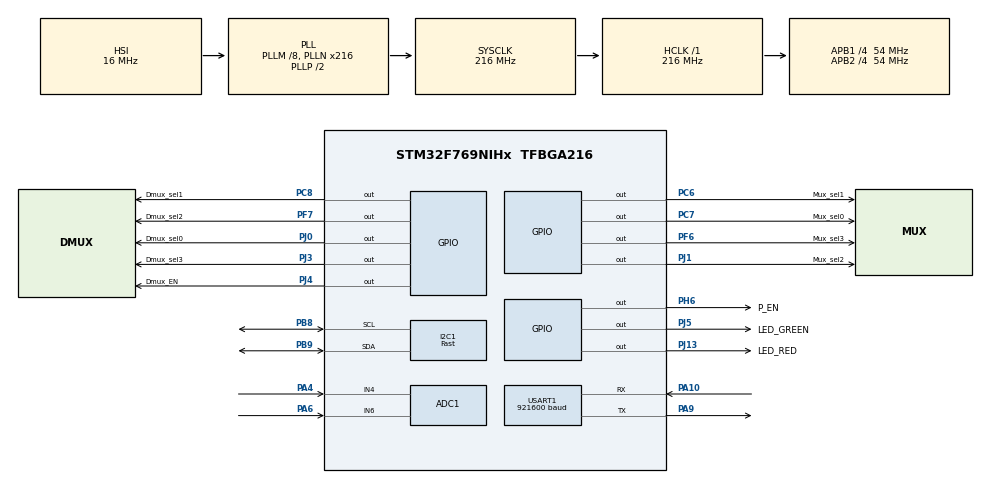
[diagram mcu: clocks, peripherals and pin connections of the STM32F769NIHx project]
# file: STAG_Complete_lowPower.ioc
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Mcu.Family=STM32F7
STMicroelectronics.X-CUBE-AI.5.0.0.ModelMacc-4a777269b15ae735e5917de376a15997c86f35e3944f2cdbd16dda3ebaa704af=4761904
RCC.CortexFreq_Value=216000000
STMicroelectronics.X-CUBE-AI.5.0.0.ModelName-4a777269b15ae735e5917de376a15997c86f35e3944f2cdbd16dda3ebaa704af=network
NVIC.I2C1_EV_IRQn=true\:4\:1\:true\:false\:true\:true\:true
I2C1.I2C_Speed_Mode=I2C_Fast
STMicroelectronics.X-CUBE-AI.5.0.0.ModelFlashOccupation-4a777269b15ae735e5917de376a15997c86f35e3944f2cdbd16dda3ebaa704af=175940
USART1.BaudRate=921600
STMicroelectronics.X-CUBE-AI.5.0.0.NNModelInformation_ModelSize-4a777269b15ae735e5917de376a15997c86f35e3944f2cdbd16dda3ebaa704af=175940
PH6.GPIO_Label=P_EN
CORTEX_M7.PREFETCH_ENABLE=1
PC6.GPIO_Label=Mux_sel1
PA0/WKUP.Signal=SYS_WKUP1
STMicroelectronics.X-CUBE-AI.5.0.0.ModelType-4a777269b15ae735e5917de376a15997c86f35e3944f2cdbd16dda3ebaa704af=Saved model
PF6.GPIO_Label=Mux_sel3
PJ5.GPIO_Label=LED_GREEN
STMicroelectronics.X-CUBE-AI.5.0.0.ModelActualCompression-4a777269b15ae735e5917de376a15997c86f35e3944f2cdbd16dda3ebaa704af=0.0
RCC.SYSCLKSource=RCC_SYSCLKSOURCE_PLLCLK
ProjectManager.StackSize=0x4000
VP_TIM7_VS_ClockSourceINT.Mode=Enable_Timer
STMicroelectronics.X-CUBE-AI.5.0.0.StackSize=0x4000
NVIC.ADC_IRQn=true\:2\:1\:true\:false\:true\:true\:true
PJ13.GPIO_Label=LED_RED
PF7.Signal=GPIO_Output
RCC.HCLKFreq_Value=216000000
RCC.APB2TimFreq_Value=108000000
PC7.Signal=GPIO_Output
TIM7.Period=1349
STMicroelectronics.X-CUBE-AI.5.0.0.InternalRamActivationBufferMaxSize=AI_NETWORK_DATA_ACTIVATIONS_SIZE
STMicroelectronics.X-CUBE-AI.5.0.0.ModelStructureFile-4a777269b15ae735e5917de376a15997c86f35e3944f2cdbd16dda3ebaa704af=/home/fabian/Documents/Master_thesis/Python_Code/models/onnx/final_model.onnx
RCC.AHBFreq_Value=216000000
STMicroelectronics.X-CUBE-AI.5.0.0.NNModelInformation_ModelMacc-4a777269b15ae735e5917de376a15997c86f35e3944f2cdbd16dda3ebaa704af=4761904
STMicroelectronics.X-CUBE-AI.5.0.0.WorkingBufferStartAddrList=0xFFFFFFFF
ADC1.Channel-0\#ChannelRegularConversion=ADC_CHANNEL_4
RCC.HSE_VALUE=25000000
RCC.RCC_RTC_Clock_Source_FROM_HSE=RCC_RTCCLKSOURCE_HSE_DIV25
ADC1.ScanConvMode=ADC_SCAN_ENABLE
RCC.RTCClockSelection=RCC_RTCCLKSOURCE_LSE
STMicroelectronics.X-CUBE-AI.5.0.0.NNModelInformation_NbOfParameters-4a777269b15ae735e5917de376a15997c86f35e3944f2cdbd16dda3ebaa704af=43985
STMicroelectronics.X-CUBE-AI.5.0.0.NNModelInformation_ModelRam-4a777269b15ae735e5917de376a15997c86f35e3944f2cdbd16dda3ebaa704af=49152
STMicroelectronics.X-CUBE-AI.5.0.0.NNModelInformation_ModelRom-4a777269b15ae735e5917de376a15997c86f35e3944f2cdbd16dda3ebaa704af=175940
PF7.GPIO_Label=Dmux_sel2
STMicroelectronics.X-CUBE-AI.5.0.0.LatestDirectoryUsed-4a777269b15ae735e5917de376a15997c86f35e3944f2cdbd16dda3ebaa704af=/home/fabian/Documents/Master_thesis/Python_Code/models/onnx
STMicroelectronics.X-CUBE-AI.5.0.0.NNModelInformation_HeapSizeNeeded-4a777269b15ae735e5917de376a15997c86f35e3944f2cdbd16dda3ebaa704af=3072
TIM6.Period=65535
NVIC.I2C1_ER_IRQn=true\:4\:0\:true\:false\:true\:true\:true
ADC1.SamplingTime-0\#ChannelRegularConversion=ADC_SAMPLETIME_112CYCLES
STMicroelectronics.X-CUBE-AI.5.0.0.ValidationOutputFileHistory-4a777269b15ae735e5917de376a15997c86f35e3944f2cdbd16dda3ebaa704af=/home/fabian/Documents/Master_thesis/C_Code/validation_data/label2_small.csv,/home/fabian/Documents/Master_thesis/C_Code/validation_data/real_labels.csv
STMicroelectronics.X-CUBE-AI.5.0.0.NNModelInformation_ModelOutSizeByName-4a777269b15ae735e5917de376a15997c86f35e3944f2cdbd16dda3ebaa704af={output\=68}
STMicroelectronics.X-CUBE-AI.5.0.0.MaximumNumberOfInputLayer=1
PB9.Signal=I2C1_SDA
Mcu.Package=TFBGA216
PA6.Signal=ADCx_IN6
STMicroelectronics.X-CUBE-AI.5.0.0.MaximumSizeOfInputLayer=4096
PJ4.Signal=GPIO_Output
PA10.Signal=USART1_RX
STMicroelectronics.X-CUBE-AI.5.0.0.ValidationInputFileHistory-4a777269b15ae735e5917de376a15997c86f35e3944f2cdbd16dda3ebaa704af=/home/fabian/Documents/Master_thesis/C_Code/validation_data/data2_small.csv,/home/fabian/Documents/Master_thesis/C_Code/validation_data/real_data.csv,/home/fabian/Documents/Master_thesis/C_Code/validation_data/real_data.csv
PJ1.Signal=GPIO_Output
TIM7.AutoReloadPreload=TIM_AUTORELOAD_PRELOAD_ENABLE
RCC.APB2CLKDivider=RCC_HCLK_DIV4
RCC.PLLSAIQ=3
PJ3.GPIO_Label=Dmux_sel3
RCC.APB1TimFreq_Value=108000000
STMicroelectronics.X-CUBE-AI.5.0.0.MaximumSizeOfOutputLayer=68
NVIC.USART1_IRQn=true\:3\:0\:true\:false\:true\:true\:true
NVIC.TIM7_IRQn=true\:1\:1\:true\:false\:true\:true\:true
PJ1.GPIO_Label=Mux_sel2
CORTEX_M7.CPU_ICache=Enabled
ADC1.Rank-0\#ChannelRegularConversion=1
STMicroelectronics.X-CUBE-AI.5.0.0.HeapSize=0x2000
PA10.Mode=Asynchronous
SH.ADCx_IN6.0=ADC1_IN6,IN6
STMicroelectronics.X-CUBE-AI.5.0.0.MaximumNumberOfOutputLayer=1
STMicroelectronics.X-CUBE-AI.5.0.0.ModelRamOccupation-4a777269b15ae735e5917de376a15997c86f35e3944f2cdbd16dda3ebaa704af=49152
STMicroelectronics.X-CUBE-AI.5.0.0.XAaCUBEAaAICcArtificialOoIntelligenceJjCore=true
PC8.Signal=GPIO_Output
STMicroelectronics.X-CUBE-AI.5.0.0.ModelKind-4a777269b15ae735e5917de376a15997c86f35e3944f2cdbd16dda3ebaa704af=ONNX
TIM6.Prescaler=107
ADC1.DiscontinuousConvMode=ENABLE
VP_TIM6_VS_ClockSourceINT.Mode=Enable_Timer
PC6.Signal=GPIO_Output
RCC.APB1CLKDivider=RCC_HCLK_DIV4
STMicroelectronics.X-CUBE-AI.5.0.0.NNModelInformation_EvaluationStatus-4a777269b15ae735e5917de376a15997c86f35e3944f2cdbd16dda3ebaa704af=NOT EVALUATED
VP_STMicroelectronics.X-CUBE-AI_VS_ArtificialOoIntelligenceJjXAaCUBEAaAI_5.0.0.Mode=ArtificialOoIntelligenceJjXAaCUBEAaAI
PC8.GPIO_Label=Dmux_sel1
USART1.VirtualMode-Asynchronous=VM_ASYNC
TIM6.AutoReloadPreload=TIM_AUTORELOAD_PRELOAD_ENABLE
PJ3.Signal=GPIO_Output
PA9.Mode=Asynchronous
PF6.Signal=GPIO_Output
ProjectManager.TargetToolchain=Makefile
CORTEX_M7.ART_ACCLERATOR_ENABLE=1
PB9.Mode=I2C
PA9.Signal=USART1_TX
STMicroelectronics.X-CUBE-AI.5.0.0.NNModelInformation_AchievedCompression-4a777269b15ae735e5917de376a15997c86f35e3944f2cdbd16dda3ebaa704af=0.0
ADC1.Channel-1\#ChannelRegularConversion=ADC_CHANNEL_6
I2C1.Timing=0x6000030D
STMicroelectronics.X-CUBE-AI.5.0.0.ApplicationCcArtificialOoIntelligenceJjApplication=ApplicationTemplate
RCC.USBFreq_Value=108000000
RCC.LSE_VALUE=32768
PA0/WKUP.Mode=SYS_WakeUp0
TIM7.Prescaler=9999
board=STM32F769I-DISC1
PJ4.GPIO_Label=Dmux_EN
RCC.VCOOutputFreq_Value=432000000
ADC1.NbrOfDiscConversion=2
RCC.APB2Freq_Value=54000000
STMicroelectronics.X-CUBE-AI.5.0.0.NNModelInformation_CompressionFactor-4a777269b15ae735e5917de376a15997c86f35e3944f2cdbd16dda3ebaa704af=0.0
PA0/WKUP.GPIO_Label=BUTTON
STMicroelectronics.X-CUBE-AI.5.0.0.ModelCompression-4a777269b15ae735e5917de376a15997c86f35e3944f2cdbd16dda3ebaa704af=1
SH.ADCx_IN4.0=ADC1_IN4,IN4
STMicroelectronics.X-CUBE-AI.5.0.0.ActivationBufferSizeList=49152
ADC1.NbrOfConversion=2
PJ0.Signal=GPIO_Output
Mcu.Name=STM32F769NIHx
PC7.GPIO_Label=Mux_sel0
STMicroelectronics.X-CUBE-AI.5.0.0.NNModelInformation_ModelInSizeByName-4a777269b15ae735e5917de376a15997c86f35e3944f2cdbd16dda3ebaa704af={input\=4096}
PA4.Signal=ADCx_IN4
ADC1.SamplingTime-1\#ChannelRegularConversion=ADC_SAMPLETIME_112CYCLES
RCC.SYSCLKFreq_VALUE=216000000
USART1.OverSampling=UART_OVERSAMPLING_8
ADC1.master=1
PJ5.Signal=GPIO_Output
ADC1.Rank-1\#ChannelRegularConversion=2
PJ0.GPIO_Label=Dmux_sel0
ProjectManager.HeapSize=0x2000
PH6.Signal=GPIO_Output
RCC.HSI_VALUE=16000000
VP_STMicroelectronics.X-CUBE-AI_VS_ArtificialOoIntelligenceJjApplication_5.0.0.Mode=ArtificialOoIntelligenceJjApplication
RCC.PLLQ=4
NVIC.PriorityGroup=NVIC_PRIORITYGROUP_3
ADC1.NbrOfConversionFlag=1
RCC.PLLM=8
STMicroelectronics.X-CUBE-AI.5.0.0.ModelHashList=4a777269b15ae735e5917de376a15997c86f35e3944f2cdbd16dda3ebaa704af
PB8.Mode=I2C
RCC.PLLN=216
PB8.Signal=I2C1_SCL
STMicroelectronics.X-CUBE-AI.5.0.0.NNModelInformation_ModelName-4a777269b15ae735e5917de376a15997c86f35e3944f2cdbd16dda3ebaa704af=network
CORTEX_M7.CPU_DCache=Enabled
RCC.APB1Freq_Value=54000000
VP_CRC_VS_CRC.Mode=CRC_Activate
PJ13.Signal=GPIO_Output
STMicroelectronics.X-CUBE-AI.5.0.0.ModelNameList=network

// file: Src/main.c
/* USER CODE BEGIN Header */
/**
  ******************************************************************************
  * @file           : main.c
  * @brief          : Main program body
  ******************************************************************************
  * @attention
  *
  * <h2><center>&copy; Copyright (c) 2020 STMicroelectronics.
  * All rights reserved.</center></h2>
  *
  * This software component is licensed by ST under Ultimate Liberty license
  * SLA0044, the "License"; You may not use this file except in compliance with
  * the License. You may obtain a copy of the License at:
  *                             www.st.com/SLA0044
  *
  ******************************************************************************
  */
/* USER CODE END Header */

#include "main.h"
#include "app_x-cube-ai.h"

/* USER CODE BEGIN Includes */
#include "readout_driver.h"
#include "MPU9250.h"

// needed to retarget stdio
#include <stdio.h>
#include <errno.h>
#include <sys/unistd.h>

#include <stdbool.h>
/* USER CODE END Includes */

CRC_HandleTypeDef hcrc;

TIM_HandleTypeDef htim7;

UART_HandleTypeDef huart1;

/* USER CODE BEGIN PV */

uint16_t tactileData[DATA_SIZE];
volatile bool collect_data = false;
volatile bool button = false;
volatile bool lp_standby = false;
HAL_StatusTypeDef status;

//uint16_t pre_tick;
//uint16_t post_tick;
uint8_t rx_char[2];

uint16_t frame_count = 0;
uint16_t frame_limit = 80; // frame rate is 8Hz -> 80 frames take 10 seconds

float accData[3];
float magData[3];
float gyroData[3];

ai_float tactileData_scaled[DATA_SIZE];
const uint16_t tactile_shift = 1500;
const float tactile_scale = 1/(2000.0 - 1500.0);
uint8_t pred_class;

char class_names[17][15] =  {
                              //"Allen key set ",
                              "Ball          ",
                              "Battery       ",
                              //"Board eraser  ",
                              "Bracket       ",
                              //"Brain         ",
                              //"Cat           ",
                              //"Chain         ",
                              //"Clip          ",
                              "Coin          ",
                              "Empty can     ",
                              "Empty hand    ",
                              "Full can      ",
                              "Gel           ",
                              //"Kiwano        ",
                              "Lotion        ",
                              "Mug           ",
                              //"Multimeter    ",
                              "Pen           ",
                              "Safety glasses",
                              "Scissors      ",
                              "Screwdriver   ",
                              //"Spoon         ",
                              "Spray can     ",
                              "Stapler       ",
                              "Tape          ",
                              //"Teabox        "
                            };

const uint8_t ODR = 0x07;
/* USER CODE END PV */

void SystemClock_Config(void);
static void MX_GPIO_Init(void);
static void MX_ADC1_Init(void);
static void MX_USART1_UART_Init(void);
static void MX_I2C1_Init(void);
static void MX_TIM6_Init(void);
static void MX_TIM7_Init(void);
static void MX_CRC_Init(void);
/* USER CODE BEGIN PFP */
//void HAL_GPIO_EXTI_Callback(uint16_t GPIO_Pin);
void HAL_UART_RxCpltCallback(UART_HandleTypeDef *huart);
void HAL_TIM_PeriodElapsedCallback(TIM_HandleTypeDef *htim);
int _write(int fd, char *buff, int count);
//static void StandbyMode(void);
/* USER CODE END PFP */

int main(void)
{

  /* Enable I-Cache---------------------------------------------------------*/
  SCB_EnableICache();

  /* Enable D-Cache---------------------------------------------------------*/
  SCB_EnableDCache();

  /* MCU Configuration--------------------------------------------------------*/

  /* Reset of all peripherals, Initializes the Flash interface and the Systick. */
  HAL_Init();

  /* Configure the system clock */
  SystemClock_Config();

  /* Initialize all configured peripherals */
  MX_GPIO_Init();
  MX_ADC1_Init();
  MX_USART1_UART_Init();
  MX_I2C1_Init();
  MX_TIM6_Init();
  MX_TIM7_Init();
  MX_CRC_Init();
  MX_X_CUBE_AI_Init();
  /* USER CODE BEGIN 2 */
  //____________________________________________________________________________
  /* Check and handle if the system was resumed from StandBy mode */
  if(__HAL_PWR_GET_FLAG(PWR_FLAG_SB) != RESET)
  {
    __HAL_PWR_CLEAR_FLAG(PWR_FLAG_SB);

    /* Exit Ethernet Phy from low power mode */
    ETH_PhyExitFromPowerDownMode();

    /* Exit USB Phy from low power mode */
    USB_PhyExitFromLowPowerMode();
  }
  //____________________________________________________________________________
  HAL_TIM_Base_Start(&htim6);
  //HAL_TIM_Base_Start(&htim7);
  HAL_UART_Receive_IT(&huart1, rx_char, 2);
  //HAL_Delay(5000);
  MPU9250_Init();
  En_ReadoutCircuit();
  HAL_TIM_Base_Start_IT(&htim7);
  /* USER CODE END 2 */

  /* Infinite loop */
  /* USER CODE BEGIN WHILE */
  while (1)
  {
    if (collect_data)
    {
      //__HAL_TIM_SET_COUNTER(&htim7, 0);
      /*status = MPU9250_GetData_Phys(accData, magData, gyroData);
      if (status != HAL_OK)
      {
        Error_Handler();
      }*/

      __HAL_TIM_SET_COUNTER(&htim6, 0);
      status = Read_Frame(tactileData);
      if (status != HAL_OK)
      {
        Error_Handler();
      }
      frame_count++;
      for (int i=0; i<DATA_SIZE; i++)
      {
        ai_float tmp_ = ((float)(tactileData[i] - tactile_shift))*tactile_scale;
        // clip values such that they fall between 0, 1
        tactileData_scaled[i] = AI_CLAMP(tmp_, 0.0, 1.0, ai_float);
      }
      pred_class = MX_X_CUBE_AI_Process(tactileData_scaled);
      printf("Predicted class is: %s\r", class_names[pred_class]);
      fflush(stdout);
      /*post_tick = __HAL_TIM_GET_COUNTER(&htim7);
      printf("Whole loop took %3.1f milliseconds.\n", ((float)(post_tick)*0.092592593));*/
      collect_data = false;
    }
    /* USER CODE END WHILE */

    /* USER CODE BEGIN 3 */
    if (lp_standby)
    {
      // Disable the readout circuit
      Dis_ReadoutCircuit();
      // Put IMU into low power mode
      status = MPU9250_AccelLP(ODR);
      if (status != HAL_OK)
      {
        Error_Handler();
      }
      /* Enter USB PHY to Lowpower Mode */
      USB_PhyEnterLowPowerMode();
      /* Enter Ethernet PHY to Power Down Mode */
      ETH_PhyEnterPowerDownMode();
      StandbyMode_Measure();
    }
  }
  /* USER CODE END 3 */
}

void SystemClock_Config(void)
{
  RCC_OscInitTypeDef RCC_OscInitStruct = {0};
  RCC_ClkInitTypeDef RCC_ClkInitStruct = {0};
  RCC_PeriphCLKInitTypeDef PeriphClkInitStruct = {0};

  /** Configure the main internal regulator output voltage
  */
  __HAL_RCC_PWR_CLK_ENABLE();
  __HAL_PWR_VOLTAGESCALING_CONFIG(PWR_REGULATOR_VOLTAGE_SCALE1);
  /** Initializes the CPU, AHB and APB busses clocks
  */
  RCC_OscInitStruct.OscillatorType = RCC_OSCILLATORTYPE_HSI;
  RCC_OscInitStruct.HSIState = RCC_HSI_ON;
  RCC_OscInitStruct.HSICalibrationValue = RCC_HSICALIBRATION_DEFAULT;
  RCC_OscInitStruct.PLL.PLLState = RCC_PLL_ON;
  RCC_OscInitStruct.PLL.PLLSource = RCC_PLLSOURCE_HSI;
  RCC_OscInitStruct.PLL.PLLM = 8;
  RCC_OscInitStruct.PLL.PLLN = 216;
  RCC_OscInitStruct.PLL.PLLP = RCC_PLLP_DIV2;
  RCC_OscInitStruct.PLL.PLLQ = 4;
  if (HAL_RCC_OscConfig(&RCC_OscInitStruct) != HAL_OK)
  {
    Error_Handler();
  }
  /** Activate the Over-Drive mode
  */
  if (HAL_PWREx_EnableOverDrive() != HAL_OK)
  {
    Error_Handler();
  }
  /** Initializes the CPU, AHB and APB busses clocks
  */
  RCC_ClkInitStruct.ClockType = RCC_CLOCKTYPE_HCLK|RCC_CLOCKTYPE_SYSCLK
                              |RCC_CLOCKTYPE_PCLK1|RCC_CLOCKTYPE_PCLK2;
  RCC_ClkInitStruct.SYSCLKSource = RCC_SYSCLKSOURCE_PLLCLK;
  RCC_ClkInitStruct.AHBCLKDivider = RCC_SYSCLK_DIV1;
  RCC_ClkInitStruct.APB1CLKDivider = RCC_HCLK_DIV4;
  RCC_ClkInitStruct.APB2CLKDivider = RCC_HCLK_DIV4;

  if (HAL_RCC_ClockConfig(&RCC_ClkInitStruct, FLASH_LATENCY_7) != HAL_OK)
  {
    Error_Handler();
  }
  PeriphClkInitStruct.PeriphClockSelection = RCC_PERIPHCLK_USART1|RCC_PERIPHCLK_I2C1;
  PeriphClkInitStruct.Usart1ClockSelection = RCC_USART1CLKSOURCE_PCLK2;
  PeriphClkInitStruct.I2c1ClockSelection = RCC_I2C1CLKSOURCE_PCLK1;
  if (HAL_RCCEx_PeriphCLKConfig(&PeriphClkInitStruct) != HAL_OK)
  {
    Error_Handler();
  }
}

static void MX_ADC1_Init(void)
{

  ADC_ChannelConfTypeDef sConfig = {0};

  /** Configure the global features of the ADC (Clock, Resolution, Data Alignment and number of conversion)
  */
  hadc1.Instance = ADC1;
  hadc1.Init.ClockPrescaler = ADC_CLOCK_SYNC_PCLK_DIV2;
  hadc1.Init.Resolution = ADC_RESOLUTION_12B;
  hadc1.Init.ScanConvMode = ADC_SCAN_ENABLE;
  hadc1.Init.ContinuousConvMode = DISABLE;
  hadc1.Init.DiscontinuousConvMode = ENABLE;
  hadc1.Init.NbrOfDiscConversion = 2;
  hadc1.Init.ExternalTrigConvEdge = ADC_EXTERNALTRIGCONVEDGE_NONE;
  hadc1.Init.ExternalTrigConv = ADC_SOFTWARE_START;
  hadc1.Init.DataAlign = ADC_DATAALIGN_RIGHT;
  hadc1.Init.NbrOfConversion = 2;
  hadc1.Init.DMAContinuousRequests = DISABLE;
  hadc1.Init.EOCSelection = ADC_EOC_SINGLE_CONV;
  if (HAL_ADC_Init(&hadc1) != HAL_OK)
  {
    Error_Handler();
  }
  /** Configure for the selected ADC regular channel its corresponding rank in the sequencer and its sample time.
  */
  sConfig.Channel = ADC_CHANNEL_4;
  sConfig.Rank = ADC_REGULAR_RANK_1;
  sConfig.SamplingTime = ADC_SAMPLETIME_112CYCLES;
  if (HAL_ADC_ConfigChannel(&hadc1, &sConfig) != HAL_OK)
  {
    Error_Handler();
  }
  /** Configure for the selected ADC regular channel its corresponding rank in the sequencer and its sample time.
  */
  sConfig.Channel = ADC_CHANNEL_6;
  sConfig.Rank = ADC_REGULAR_RANK_2;
  if (HAL_ADC_ConfigChannel(&hadc1, &sConfig) != HAL_OK)
  {
    Error_Handler();
  }

}

static void MX_CRC_Init(void)
{

  hcrc.Instance = CRC;
  hcrc.Init.DefaultPolynomialUse = DEFAULT_POLYNOMIAL_ENABLE;
  hcrc.Init.DefaultInitValueUse = DEFAULT_INIT_VALUE_ENABLE;
  hcrc.Init.InputDataInversionMode = CRC_INPUTDATA_INVERSION_NONE;
  hcrc.Init.OutputDataInversionMode = CRC_OUTPUTDATA_INVERSION_DISABLE;
  hcrc.InputDataFormat = CRC_INPUTDATA_FORMAT_BYTES;
  if (HAL_CRC_Init(&hcrc) != HAL_OK)
  {
    Error_Handler();
  }

}

static void MX_I2C1_Init(void)
{

  hi2c1.Instance = I2C1;
  hi2c1.Init.Timing = 0x6000030D;
  hi2c1.Init.OwnAddress1 = 0;
  hi2c1.Init.AddressingMode = I2C_ADDRESSINGMODE_7BIT;
  hi2c1.Init.DualAddressMode = I2C_DUALADDRESS_DISABLE;
  hi2c1.Init.OwnAddress2 = 0;
  hi2c1.Init.OwnAddress2Masks = I2C_OA2_NOMASK;
  hi2c1.Init.GeneralCallMode = I2C_GENERALCALL_DISABLE;
  hi2c1.Init.NoStretchMode = I2C_NOSTRETCH_DISABLE;
  if (HAL_I2C_Init(&hi2c1) != HAL_OK)
  {
    Error_Handler();
  }
  /** Configure Analogue filter
  */
  if (HAL_I2CEx_ConfigAnalogFilter(&hi2c1, I2C_ANALOGFILTER_ENABLE) != HAL_OK)
  {
    Error_Handler();
  }
  /** Configure Digital filter
  */
  if (HAL_I2CEx_ConfigDigitalFilter(&hi2c1, 0) != HAL_OK)
  {
    Error_Handler();
  }

}

static void MX_TIM6_Init(void)
{

  TIM_MasterConfigTypeDef sMasterConfig = {0};

  htim6.Instance = TIM6;
  htim6.Init.Prescaler = 107;
  htim6.Init.CounterMode = TIM_COUNTERMODE_UP;
  htim6.Init.Period = 65535;
  htim6.Init.AutoReloadPreload = TIM_AUTORELOAD_PRELOAD_ENABLE;
  if (HAL_TIM_Base_Init(&htim6) != HAL_OK)
  {
    Error_Handler();
  }
  sMasterConfig.MasterOutputTrigger = TIM_TRGO_RESET;
  sMasterConfig.MasterSlaveMode = TIM_MASTERSLAVEMODE_DISABLE;
  if (HAL_TIMEx_MasterConfigSynchronization(&htim6, &sMasterConfig) != HAL_OK)
  {
    Error_Handler();
  }

}

static void MX_TIM7_Init(void)
{

  TIM_MasterConfigTypeDef sMasterConfig = {0};

  htim7.Instance = TIM7;
  htim7.Init.Prescaler = 9999;
  htim7.Init.CounterMode = TIM_COUNTERMODE_UP;
  htim7.Init.Period = 1349;
  htim7.Init.AutoReloadPreload = TIM_AUTORELOAD_PRELOAD_ENABLE;
  if (HAL_TIM_Base_Init(&htim7) != HAL_OK)
  {
    Error_Handler();
  }
  sMasterConfig.MasterOutputTrigger = TIM_TRGO_RESET;
  sMasterConfig.MasterSlaveMode = TIM_MASTERSLAVEMODE_DISABLE;
  if (HAL_TIMEx_MasterConfigSynchronization(&htim7, &sMasterConfig) != HAL_OK)
  {
    Error_Handler();
  }

}

static void MX_USART1_UART_Init(void)
{

  huart1.Instance = USART1;
  huart1.Init.BaudRate = 921600;
  huart1.Init.WordLength = UART_WORDLENGTH_8B;
  huart1.Init.StopBits = UART_STOPBITS_1;
  huart1.Init.Parity = UART_PARITY_NONE;
  huart1.Init.Mode = UART_MODE_TX_RX;
  huart1.Init.HwFlowCtl = UART_HWCONTROL_NONE;
  huart1.Init.OverSampling = UART_OVERSAMPLING_8;
  huart1.Init.OneBitSampling = UART_ONE_BIT_SAMPLE_DISABLE;
  huart1.AdvancedInit.AdvFeatureInit = UART_ADVFEATURE_NO_INIT;
  if (HAL_UART_Init(&huart1) != HAL_OK)
  {
    Error_Handler();
  }

}

static void MX_GPIO_Init(void)
{
  GPIO_InitTypeDef GPIO_InitStruct = {0};

  /* GPIO Ports Clock Enable */
  __HAL_RCC_GPIOB_CLK_ENABLE();
  __HAL_RCC_GPIOJ_CLK_ENABLE();
  __HAL_RCC_GPIOA_CLK_ENABLE();
  __HAL_RCC_GPIOC_CLK_ENABLE();
  __HAL_RCC_GPIOF_CLK_ENABLE();
  __HAL_RCC_GPIOH_CLK_ENABLE();

  /*Configure GPIO pin Output Level */
  HAL_GPIO_WritePin(GPIOJ, LED_RED_Pin|Dmux_EN_Pin|LED_GREEN_Pin|Dmux_sel3_Pin
                          |Dmux_sel0_Pin|Mux_sel2_Pin, GPIO_PIN_RESET);

  /*Configure GPIO pin Output Level */
  HAL_GPIO_WritePin(GPIOC, Dmux_sel1_Pin|Mux_sel0_Pin|Mux_sel1_Pin, GPIO_PIN_RESET);

  /*Configure GPIO pin Output Level */
  HAL_GPIO_WritePin(GPIOF, Dmux_sel2_Pin|Mux_sel3_Pin, GPIO_PIN_RESET);

  /*Configure GPIO pin Output Level */
  HAL_GPIO_WritePin(P_EN_GPIO_Port, P_EN_Pin, GPIO_PIN_RESET);

  /*Configure GPIO pins : LED_RED_Pin Dmux_EN_Pin LED_GREEN_Pin Dmux_sel3_Pin
                           Dmux_sel0_Pin Mux_sel2_Pin */
  GPIO_InitStruct.Pin = LED_RED_Pin|Dmux_EN_Pin|LED_GREEN_Pin|Dmux_sel3_Pin
                          |Dmux_sel0_Pin|Mux_sel2_Pin;
  GPIO_InitStruct.Mode = GPIO_MODE_OUTPUT_PP;
  GPIO_InitStruct.Pull = GPIO_NOPULL;
  GPIO_InitStruct.Speed = GPIO_SPEED_FREQ_LOW;
  HAL_GPIO_Init(GPIOJ, &GPIO_InitStruct);

  /*Configure GPIO pins : Dmux_sel1_Pin Mux_sel0_Pin Mux_sel1_Pin */
  GPIO_InitStruct.Pin = Dmux_sel1_Pin|Mux_sel0_Pin|Mux_sel1_Pin;
  GPIO_InitStruct.Mode = GPIO_MODE_OUTPUT_PP;
  GPIO_InitStruct.Pull = GPIO_NOPULL;
  GPIO_InitStruct.Speed = GPIO_SPEED_FREQ_LOW;
  HAL_GPIO_Init(GPIOC, &GPIO_InitStruct);

  /*Configure GPIO pins : Dmux_sel2_Pin Mux_sel3_Pin */
  GPIO_InitStruct.Pin = Dmux_sel2_Pin|Mux_sel3_Pin;
  GPIO_InitStruct.Mode = GPIO_MODE_OUTPUT_PP;
  GPIO_InitStruct.Pull = GPIO_NOPULL;
  GPIO_InitStruct.Speed = GPIO_SPEED_FREQ_LOW;
  HAL_GPIO_Init(GPIOF, &GPIO_InitStruct);

  /*Configure GPIO pin : P_EN_Pin */
  GPIO_InitStruct.Pin = P_EN_Pin;
  GPIO_InitStruct.Mode = GPIO_MODE_OUTPUT_PP;
  GPIO_InitStruct.Pull = GPIO_NOPULL;
  GPIO_InitStruct.Speed = GPIO_SPEED_FREQ_LOW;
  HAL_GPIO_Init(P_EN_GPIO_Port, &GPIO_InitStruct);

}

/* USER CODE BEGIN 4 */
// Retarget stdio
int _write(int fd, char *buff, int count)
{
  if ((count < 0) && (fd != STDOUT_FILENO) && (fd != STDERR_FILENO)) {
      errno = EBADF;
      return -1;
  }

  status = HAL_UART_Transmit(&huart1, (uint8_t *)buff, count, HAL_MAX_DELAY);

  return (status == HAL_OK ? count : 0);
}

void HAL_GPIO_EXTI_Callback(uint16_t GPIO_Pin)
{
  // Toggle data collection
  button = !button;
  if(button)
  {
    //collect_data = true;
    // Enable the reference voltage for the readout circuit
    En_ReadoutCircuit();
    HAL_TIM_Base_Start_IT(&htim7);
    HAL_GPIO_WritePin(GPIOJ, LED_GREEN_Pin, GPIO_PIN_SET);
  }
  else
  {
    HAL_TIM_Base_Stop_IT(&htim7);
    HAL_GPIO_WritePin(GPIOJ, LED_GREEN_Pin, GPIO_PIN_RESET);
    Dis_ReadoutCircuit();
  }
}

void HAL_TIM_PeriodElapsedCallback(TIM_HandleTypeDef *htim)
{
  if (htim->Instance == htim7.Instance)
  {
    if(frame_count == frame_limit)
    {
      lp_standby = true;
    }
    else
    {
      collect_data = true;
    }
  }
}

void HAL_UART_RxCpltCallback(UART_HandleTypeDef *huart)
{
  if (rx_char[0] == 's')
  {
    // set mcu to standby mode
    lp_standby = true;
  }
  HAL_UART_Receive_IT(&huart1, rx_char, 2);
}
/* USER CODE END 4 */

void Error_Handler(void)
{
  /* USER CODE BEGIN Error_Handler_Debug */
  /* User can add his own implementation to report the HAL error return state */
  HAL_GPIO_WritePin(GPIOJ, LED_GREEN_Pin|LED_RED_Pin, GPIO_PIN_RESET);
  while(1)
  {
    HAL_GPIO_TogglePin(GPIOJ, LED_GREEN_Pin|LED_RED_Pin);
    HAL_Delay(100);
  }
  /* USER CODE END Error_Handler_Debug */
}

/************************ (C) COPYRIGHT STMicroelectronics *****END OF FILE****/
